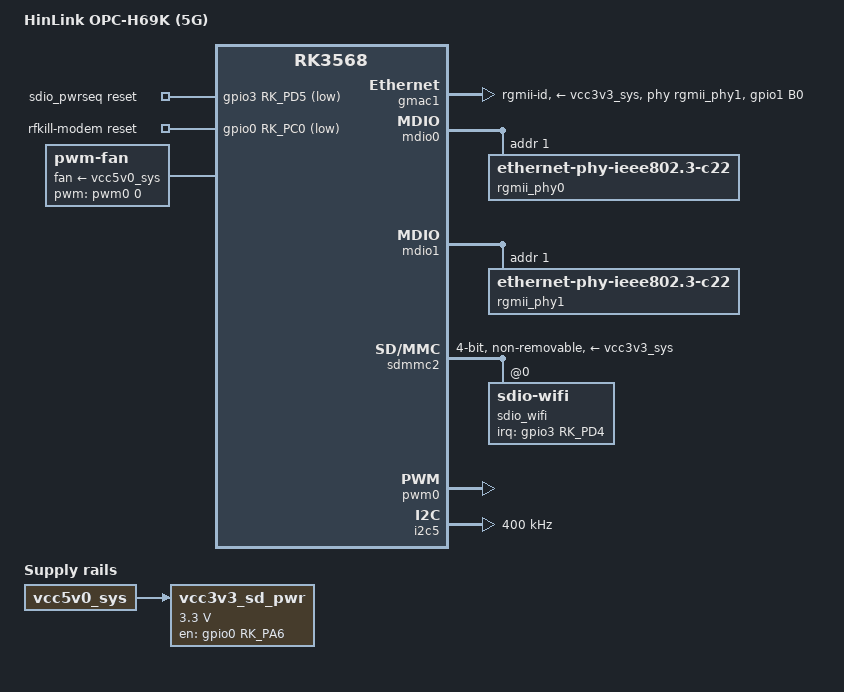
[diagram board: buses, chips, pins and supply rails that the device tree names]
// SPDX-License-Identifier: (GPL-2.0+ OR MIT)
/*
 * HinLink OPC-H69K (5G)
 *
 * HinLink 适配for immortalwrt —— 每机型独立 DTS，不做自适应。
 *
 * 硬件事实来源：厂商 2024 QWRT R24.07.07 固件 dtb（已解包反编译逐项核对）
 * 蓝本：OpenWrt 主线 rk3568-hinlink-h68k.dts
 *
 * 真·69K：装 USB 5G 模组；屏蔽 1 个 GMAC → 1×GMAC + 2×RTL8125 = 3 口
 *
 * ★ 风扇：PWM0 → pwm-fan，绑定 cpu_thermal。
 *   参数取自 iStoreOS 官方 rk3568-opc-h69k.dts。
 */

/dts-v1/;

#include <dt-bindings/thermal/thermal.h>
#include "rk3568-hinlink-opc.dtsi"

/ {
	model = "HinLink OPC-H69K (5G)";
	compatible = "hinlink,opc-h69k", "hinlink,h69k", "hinlink,h68k", "rockchip,rk3568";

	aliases {
		ethernet0 = &gmac1;
	};
};

/*
 * ============================================================
 * ★ 板载千兆口用的是 **gmac1（fe010000）**，不是 gmac0
 *
 *   依据（三处独立一致）：
 *     1. 厂商 2024 QWRT-R24.07.07 固件 dtb（fw24/dtb/dtb_3245000.dtb，
 *        model = "HINLINK OPC-H69K Board"）：
 *            /ethernet@fe010000  status = "okay"    ← gmac1
 *            /ethernet@fe2a0000  status = "disabled" ← gmac0
 *            aliases { ethernet0 = "/ethernet@fe010000" }
 *     2. iStoreOS 官方 rk3568-opc-h69k.dts：
 *            ethernet0 = &gmac1;  &gmac0 { status = "disabled"; }
 *     3. H69K 与 H68K 共底板，H68K 的 gmac1 段（本仓库 h68k-*.dts）同构。
 *
 *   ⚠️ 本仓库早期写成 gmac0 + gmac1 disabled —— **物理口接的是 gmac1 的
 *      RGMII 引脚，用 gmac0 会让 RGMII 引脚绑到另一组复用，网口起不来。**
 *
 *   厂商 dtb 的 delay 值：tx_delay = 79(0x4f)、rx_delay = 38(0x26)，
 *   与 H68K 的 gmac1 逐值相同（同一块 PCB）。
 *
 *   ⚠️ 关于 tx_delay / rx_delay 是否生效（实测内核源码结论）：
 *      drivers/net/ethernet/stmicro/stmmac/dwmac-rk.c 里
 *          case PHY_INTERFACE_MODE_RGMII:     set_to_rgmii(priv, tx_delay, rx_delay)
 *          case PHY_INTERFACE_MODE_RGMII_ID:  set_to_rgmii(priv, 0, 0)   ← 清零
 *      即 **phy-mode = "rgmii-id" 时 MAC 侧延时会被强制清零**，
 *      tx_delay/rx_delay 不生效，延时全部由 PHY 内部（RTL8211F 的
 *      RGMII internal delay）提供 —— 这正是主线 rk3568-hinlink-h68k.dts
 *      只写 rgmii-id、不写 tx/rx delay 的原因。
 *      本仓库沿用 rgmii-id（主线在 H68K 上实测过 Ethernet），
 *      下面的 delay 值保留为「若改用 rgmii 则应填入」的厂商原值。
 * ============================================================
 */
&gmac1 {
	assigned-clocks = <&cru SCLK_GMAC1_RX_TX>, <&cru SCLK_GMAC1>;
	assigned-clock-parents = <&cru SCLK_GMAC1_RGMII_SPEED>;
	assigned-clock-rates = <0>, <125000000>;
	clock_in_out = "output";
	phy-mode = "rgmii-id";
	phy-supply = <&vcc3v3_sys>;
	pinctrl-names = "default";
	pinctrl-0 = <&gmac1m1_miim
		     &gmac1m1_tx_bus2
		     &gmac1m1_rx_bus2
		     &gmac1m1_rgmii_clk
		     &gmac1m1_rgmii_bus
		     &gmac1_rstn>;
	snps,reset-gpios = <&gpio1 RK_PB0 GPIO_ACTIVE_LOW>;
	snps,reset-active-low;
	snps,reset-delays-us = <0 20000 100000>;
	tx_delay = <0x4f>;	/* 厂商原值；rgmii-id 下被驱动忽略 */
	rx_delay = <0x26>;	/* 厂商原值；rgmii-id 下被驱动忽略 */
	phy-handle = <&rgmii_phy1>;
	status = "okay";
};

/* gmac0 未引出（厂商 dtb: status = "disabled"） */
&gmac0 {
	status = "disabled";
};

&mdio0 {
	rgmii_phy0: ethernet-phy@1 {
		compatible = "ethernet-phy-ieee802.3-c22";
		reg = <0x1>;
	};
};

&mdio1 {
	rgmii_phy1: ethernet-phy@1 {
		compatible = "ethernet-phy-ieee802.3-c22";
		reg = <0x1>;
	};
};

&{/} {
	sdio_pwrseq: sdio-pwrseq {
		compatible = "mmc-pwrseq-simple";
		clocks = <&rk809 1>;
		clock-names = "ext_clock";
		pinctrl-names = "default";
		pinctrl-0 = <&wifi_enable>;
		post-power-on-delay-ms = <200>;
		power-off-delay-us = <5000000>;
		reset-gpios = <&gpio3 RK_PD5 GPIO_ACTIVE_LOW>;
	};
};

&{/} {
	vcc3v3_sd_pwr: vcc3v3-sd-pwr {
		compatible = "regulator-fixed";
		enable-active-high;
		gpio = <&gpio0 RK_PA6 GPIO_ACTIVE_HIGH>;
		pinctrl-names = "default";
		pinctrl-0 = <&vcc3v3_sd_pwr_en>;
		regulator-always-on;
		regulator-boot-on;
		regulator-min-microvolt = <3300000>;
		regulator-max-microvolt = <3300000>;
		regulator-name = "vcc3v3_sd_pwr";
		vin-supply = <&vcc5v0_sys>;
	};
};

&sdmmc2 {
	bus-width = <4>;
	cap-sd-highspeed;
	cap-sdio-irq;
	disable-wp;
	keep-power-in-suspend;
	max-frequency = <15000000>;
	mmc-pwrseq = <&sdio_pwrseq>;
	non-removable;
	pinctrl-names = "default";
	pinctrl-0 = <&sdmmc2m0_bus4 &sdmmc2m0_cmd &sdmmc2m0_clk>;
	sd-uhs-sdr25;
	sd-uhs-sdr50;
	sd-uhs-sdr104;
	status = "okay";
	vmmc-supply = <&vcc3v3_sys>;
	vqmmc-supply = <&vcc3v3_sd_pwr>;

	sdio_wifi: sdio-wifi@0 {
		interrupt-parent = <&gpio3>;
		interrupts = <RK_PD4 IRQ_TYPE_LEVEL_HIGH>;
		interrupt-names = "host-wake";
		reg = <0>;
	};
};

/*
 * ★ 原&rk809 { ext_32k_clk_out { rockchip,grf = <&rk809_grf 0>; } } 已删除
 *
 *   原因：Linux 6.18 的 rk3568 SoC dtsi 里**没有 rk809 节点，也没有 rk809_grf
 *   标签**（6.18 已把 SoC 拆分到 rk356x-base.dtsi，RK809 PMIC 不在其中）。
 *   保留这段会因 phandle 找不到而**编译失败**。
 *
 *   佐证：6.18 内核自带的 rk3568-hinlink-h68k.dts（官方蓝本）也没有这段。
 *   而本仓库的 rk3568-hinlink-opc.dtsi 与 6.18 内核自带的同名文件
 *   **sha256 完全一致**，说明这份 dtsi 已是上游官方版本 ——
 *   上游没引用 rk809_grf，说明它确实不需要。
 *
 *   这个 32.768kHz 时钟输出是给 RTC 用的；RK3568 板载 RTC 走
 *   hym8563（I2C），不依赖 RK809。若你的机器确实需要它，
 *   应改用 `rk809` 相关的正确写法或另找时钟源。
 */


&pinctrl {
	sdmmc {
		vcc3v3_sd_pwr_en: vcc3v3-sd-pwr-en {
			rockchip,pins = <0 RK_PA6 RK_FUNC_GPIO &pcfg_pull_none>;
		};

		/*
		 * ★ sdmmc2m0_bus4 / _cmd / _clk 的定义**已删除**：
		 *   内核 rk3568-pinctrl.dtsi 已提供同名标签，内容与我们逐项相同
		 *   （如 <3 RK_PC6 3 &pcfg_pull_up_drv_level_2>），重定义会报
		 *   duplicate_label。&sdmmc2 的 pinctrl-0 照常引用内核定义。
		 */

	};

	wifi {
		wifi_enable: wifi-enable {
			rockchip,pins = <3 RK_PD5 RK_FUNC_GPIO &pcfg_pull_none>;
		};
	};
};

&{/} {
	/*
	 * ============ 5G 模组供电/复位 —— GPIO0_C0，3.3V ============
	 *
	 * 来源：iStoreOS rk3568-opc-h69k.dts 与厂商 2024 QWRT 固件 dtb
	 * （fw24/dtb/dtb_3245000.dtb，model="HINLINK OPC-H69K Board"）。
	 * 厂商 dtb 原文：
	 *
	 *     modem-enable-regulator {
	 *         compatible = "regulator-fixed";
	 *         regulator-name = "modem_enable";
	 *         gpio = <&gpio0 RK_PC0 GPIO_ACTIVE_LOW>;
	 *         startup-delay-us = <0x1e8480>;        // 2 秒
	 *         vin-supply = <&vcc5v0_sys>;
	 *         pinctrl-0 = <&modem_enable_en>;
	 *         // ★ 注意：没有 enable-active-high
	 *     };
	 *
	 * ★★ 极性只由 `enable-active-high` 决定，不能凭 GPIO_ACTIVE_LOW 猜 ★★
	 *   6.18 的 drivers/gpio/gpiolib-of.c 里有一张极性映射表，注释原文：
	 *     "The regulator GPIO handles are specified such that the presence
	 *      or absence of enable-active-high solely controls the polarity of
	 *      the GPIO line. Any phandle flags must be actively ignored."
	 *   即：对 regulator-fixed 的 gpio/gpios，DT 里写的 GPIO_ACTIVE_LOW /
	 *   GPIO_ACTIVE_HIGH **被内核主动忽略**，只看有没有 enable-active-high：
	 *         有 → 高电平使能
	 *         无 → 低电平使能   ← 厂商原意（本节点）
	 *
	 * ⚠️ 历史 bug（2026-10-12 修）：旧版这里多写了一个
	 *   `enable-active-high;`，于是按上面规则变成**高电平使能**，
	 *   内核开机把 GPIO0_C0 拉**高**，而模组要**低**才供电
	 *   ⇒ H69K 的 5G 模组其实从来没有被上电过。
	 *
	 * ★ startup-delay-us = 2 秒：模组上电后需要时间稳定，
	 *   过早发 AT 命令会失败。取自厂商 dtb，不能随意调小。
	 *
	 * ⚠️ 不要另加 rfkill-gpio 指向 GPIO0_C0（上游 unifreq 的
	 *   rk3568-hlink-h69k.dts 就是这么写的）—— 同一个脚被两个驱动抢，
	 *   rfkill 侧 request 会失败（-EBUSY），且语义混淆。
	 *   详见 docs/HARDWARE.md §四。
	 */
	/*
	 * ============ 5G 模组「供电 + 复位」单路开关 —— 交给 rfkill-gpio ============
	 *
	 * H69K 只有这**一个** GPIO（GPIO0_C0）。厂商与 iStoreOS 都用
	 * regulator 把它固定使能（`always-on`），代价是**不能软复位**。
	 *
	 * ★ 改用 rfkill-gpio 后可以两全：
	 *   · 开机：rfkill 默认 unblocked → gpiod_set_value(1)
	 *     →（GPIO_ACTIVE_LOW）物理低 = 使能/工作 ⇒ 模组上电 ✓
	 *   · 运行时：`echo 0 > /sys/class/rfkill/rfkillN/state` → 物理高
	 *     = 断电/复位 ⇒ `echo 1` 恢复 = 一次真正的断电重启 ✓
	 *
	 *   6.18 net/rfkill/core.c 的 `DEVICE_ATTR_RW(state)` 就是入口，
	 *   **不需要装 rfkill 命令**（纯 sysfs）。已封装为
	 *   `/etc/init.d/hinlink-modem-hardreset reset`。
	 *
	 * ★ 唯一代价：丢掉 regulator 的 `startup-delay-us = 2s`
	 *   （rfkill-gpio 没有延时机制）。这 2 秒本来就是"上电后等模组稳定"，
	 *   现在由 hinlink-modem-hardreset 脚本在复位后等待，以及网络层枚举时自然等待。
	 *
	 * ★ 时序反而更早更简单：rfkill-gpio 在 `device_initcall` 阶段 probe
	 *   就定好电平；原先 regulator 的 enable 要等到更晚的
	 *   `late_initcall_sync`（regulator_late_init）。
	 *
	 * ⚠️ 属性名必须是 `label` + `radio-type`（6.18 的 DT 路径只读这两个；
	 *   厂商 dtb 里的 `type = "wwan"` 在 6.18 会被忽略 → type 变成
	 *   RFKILL_TYPE_ALL，按 type 就找不到设备）。详见上面 §4.2/§4.4 说明。
	 *
	 * ⚠️ 不要再写 `power-gpios`（6.18 无实现），也不要再加 regulator
	 *   指向同一个脚 —— 两者会抢同一个 GPIO，rfkill 侧会 -EBUSY。
	 */
	rfkill-modem {
		compatible = "rfkill-gpio";
		label = "rfkill-modem";
		radio-type = "wwan";
		reset-gpios = <&gpio0 RK_PC0 GPIO_ACTIVE_LOW>;
		pinctrl-names = "default";
		pinctrl-0 = <&modem_enable_en>;
	};

	/*
	 * ★★ 风扇：PWM0驱动 pwm-fan，绑定 cpu_thermal
	 *
	 * 参数全部来自 iStoreOS 官方 rk3568-opc-h69k.dts，
	 * 并由「h69k-fan」LuCI 插件的 DEVELOPMENT.md 反向验证：
	 *   「pwm-fan cooling-levels = <0 0x55 0x66 0x77 0x88 0x99 0xbb 0xcc 0xff>
	 *     —— 即 0/33/40/47/53/60/73/80/100%，
	 *     与本插件 pct_to_state 的 9 档映射逐值一致」
	 *
	 * ★ cooling-levels 的 9 个值不是随便填的，它就是 h69k-fan 插件
	 *   的 pct_to_state 映射表。改这里会让插件的档位错位。
	 *
	 * ★ 风扇绑定在 cpu_thermal（type 串 cpu-thermal），
	 *   gpu_thermal 没有风扇绑定。
	 *
	 * ★ 设备树无 tach 引脚 → 没有 RPM 反馈，界面只能显示占空比。
	 *
	 * 风扇档位（9 档，与插件一致）：
	 *   0%=0   33%=0x55   40%=0x66   47%=0x77   53%=0x88
	 *   60%=0x99   73%=0xbb   80%=0xcc   100%=0xff
	 */
	fan: pwm-fan {
		compatible = "pwm-fan";
		cooling-levels = <0 0x55 0x66 0x77 0x88 0x99 0xbb 0xcc 0xff>;
		#cooling-cells = <2>;
		fan-supply = <&vcc5v0_sys>;
		pwms = <&pwm0 0 50000 0>;
	};
};

/* 风扇 PWM 通道 */
&pwm0 {
	status = "okay";
};

/*
 * ★★ I2C5 = OLED（SSD1306 0.91″）总线 —— 必须使能 ★★
 *
 * 2026-10-15 用户实测：H69K 上接的 SSD1306 屏一直不亮。根因就是这一段缺失：
 *   未使能 ⇒ i2c5 控制器不注册 ⇒ 系统里没有 /dev/i2c-5
 *          ⇒ luci-app-oled 的 /usr/bin/oled 打不开设备、procd 起不来进程
 *          ⇒ 屏始终黑屏。
 *   （luci-app-oled 的 uci-defaults 给 hinlink,opc-h69k 配的正是
 *     path=/dev/i2c-5 —— 配置是对的，坏在总线根本没出现。）
 *
 * 控制器节点在 rk356x-base.dtsi 里已经带
 *     pinctrl-0 = <&i2c5m0_xfer>;     // GPIO3_B3 = SCL, GPIO3_B4 = SDA
 * 所以这里只需要 status + 时序，**不要**再写 pinctrl（重复指定会浪费一次
 * 申请、且与 SoC dtsi 冲突）。GPIO3_B3/B4 在本板其它节点里均未被占用，
 * 已逐个核对过。
 *
 * 下面的时序参数取自 iStoreOS 官方 rk3568-hinlink.dtsi（同硬件实测可用）。
 * 若屏排线较长、400 kHz 不稳，把 clock-frequency 降到 <100000> 即可。
 */
&i2c5 {
	status = "okay";
	i2c-scl-rising-time-ns = <160>;
	i2c-scl-falling-time-ns = <30>;
	clock-frequency = <400000>;
};

/*
 * CPU 温控曲线 —— 挂在 fan 上（fan 在上面 cooling-maps 里绑定）
 *
 * iStoreOS 的 active trips（插件 DEVELOPMENT.md 记录的内核默认曲线）：
 *   65℃ -> 2~4 档    85℃ -> 4~6 档    95℃ -> 6 档以上（满档）
 *   20℃ passive -> 最低档常转
 * critical 115℃（插件 raise_trips 上限取 min(105, 115-10)=105℃）
 *
 * ⚠️ 内核 rk356x-base.dtsi 原本的 cpu_thermal 只有 passive 的
 *   cpu_alert0(70℃)/cpu_alert1(75℃) + critical(95℃)，
 *   且 cooling-map0 绑的是 CPU（CPU_FREQ_INCREASE）不是风扇。
 *   下面覆盖为风扇曲线 —— 若要保留 CPU 降频，需把两组 cooling-maps 合并。
 */
&cpu_thermal {
	trips {
		cpu_warm: cpu_warm {
			temperature = <65000>;
			hysteresis = <5000>;
			type = "active";
		};

		cpu_hot: cpu_hot {
			temperature = <85000>;
			hysteresis = <5000>;
			type = "active";
		};

		cpu_hall: cpu_hall {
			temperature = <95000>;
			hysteresis = <5000>;
			type = "active";
		};

		cpu_idle: cpu_idle {
			temperature = <20000>;
			hysteresis = <3000>;
			type = "passive";
		};
	};

	cooling-maps {
		map2 {
			trip = <&cpu_idle>;
			cooling-device = <&fan THERMAL_NO_LIMIT 2>;
		};

		map3 {
			trip = <&cpu_warm>;
			cooling-device = <&fan 2 4>;
		};

		map4 {
			trip = <&cpu_hot>;
			cooling-device = <&fan 4 6>;
		};

		map5 {
			trip = <&cpu_hall>;
			cooling-device = <&fan 6 THERMAL_NO_LIMIT>;
		};
	};
};


&pinctrl {
	modem {
		modem_enable_en: modem-enable-en {
			rockchip,pins = <0 RK_PC0 RK_FUNC_GPIO &pcfg_pull_none>;
		};
	};
};

&pinctrl {
	gmac {
		gmac0_rstn: gmac0-rstn {
			rockchip,pins = <2 RK_PD3 RK_FUNC_GPIO &pcfg_pull_none>;
		};

		gmac1_rstn: gmac1-rstn {
			rockchip,pins = <1 RK_PB0 RK_FUNC_GPIO &pcfg_pull_none>;
		};
	};
};
